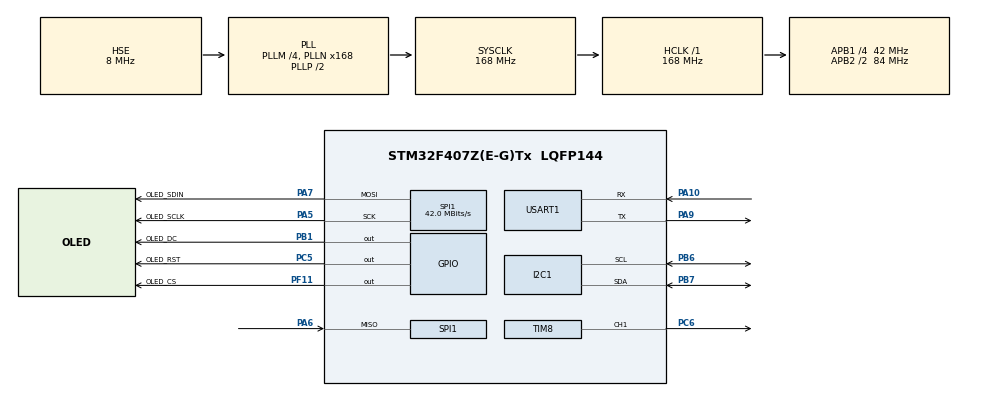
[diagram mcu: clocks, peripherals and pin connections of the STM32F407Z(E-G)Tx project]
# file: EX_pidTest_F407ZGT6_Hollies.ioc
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Mcu.Family=STM32F4
Mcu.Name=STM32F407Z(E-G)Tx
Mcu.Package=LQFP144
NVIC.PriorityGroup=NVIC_PRIORITYGROUP_4
NVIC.TIM1_UP_TIM10_IRQn=true\:0\:0\:false\:false\:true\:true\:true\:true
PA10.Mode=Asynchronous
PA10.Signal=USART1_RX
PA13.Mode=Serial_Wire
PA13.Signal=SYS_JTMS-SWDIO
PA14.Mode=Serial_Wire
PA14.Signal=SYS_JTCK-SWCLK
PA5.GPIO_Label=OLED_SCLK
PA5.Mode=Full_Duplex_Master
PA5.Signal=SPI1_SCK
PA6.Mode=Full_Duplex_Master
PA6.Signal=SPI1_MISO
PA7.GPIO_Label=OLED_SDIN
PA7.Mode=Full_Duplex_Master
PA7.Signal=SPI1_MOSI
PA9.Mode=Asynchronous
PA9.Signal=USART1_TX
PB1.GPIO_Label=OLED_DC
PB1.Signal=GPIO_Output
PB6.Mode=I2C
PB6.Signal=I2C1_SCL
PB7.Mode=I2C
PB7.Signal=I2C1_SDA
PC14-OSC32_IN.Mode=LSE-External-Oscillator
PC14-OSC32_IN.Signal=RCC_OSC32_IN
PC15-OSC32_OUT.Mode=LSE-External-Oscillator
PC15-OSC32_OUT.Signal=RCC_OSC32_OUT
PC5.GPIO_Label=OLED_RST
PC5.Signal=GPIO_Output
PC6.Signal=S_TIM8_CH1
PF11.GPIO_Label=OLED_CS
PF11.Signal=GPIO_Output
PH0-OSC_IN.Mode=HSE-External-Oscillator
PH0-OSC_IN.Signal=RCC_OSC_IN
PH1-OSC_OUT.Mode=HSE-External-Oscillator
PH1-OSC_OUT.Signal=RCC_OSC_OUT
ProjectManager.HeapSize=0x200
ProjectManager.StackSize=0x400
ProjectManager.TargetToolchain=STM32CubeIDE
RCC.48MHZClocksFreq_Value=84000000
RCC.AHBFreq_Value=168000000
RCC.APB1CLKDivider=RCC_HCLK_DIV4
RCC.APB1Freq_Value=42000000
RCC.APB1TimFreq_Value=84000000
RCC.APB2CLKDivider=RCC_HCLK_DIV2
RCC.APB2Freq_Value=84000000
RCC.APB2TimFreq_Value=168000000
RCC.CortexFreq_Value=168000000
RCC.HCLKFreq_Value=168000000
RCC.HSE_VALUE=8000000
RCC.HSI_VALUE=16000000
RCC.PLLM=4
RCC.PLLN=168
RCC.PLLSourceVirtual=RCC_PLLSOURCE_HSE
RCC.SYSCLKFreq_VALUE=168000000
RCC.SYSCLKSource=RCC_SYSCLKSOURCE_PLLCLK
RCC.VCOOutputFreq_Value=336000000
SH.S_TIM8_CH1.0=TIM8_CH1,PWM Generation1 CH1
SPI1.CalculateBaudRate=42.0 MBits/s
SPI1.Direction=SPI_DIRECTION_2LINES
SPI1.Mode=SPI_MODE_MASTER
SPI1.VirtualType=VM_MASTER
TIM1.Period=16800-1
TIM1.Prescaler=100-1
TIM8.Channel-PWM\ Generation1\ CH1=TIM_CHANNEL_1
TIM8.Period=8400-1
TIM8.Pulse-PWM\ Generation1\ CH1=3200
USART1.VirtualMode=VM_ASYNC
VP_TIM1_VS_ClockSourceINT.Mode=Internal
VP_TIM8_VS_ClockSourceINT.Mode=Internal
board=custom

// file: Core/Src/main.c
/* USER CODE BEGIN Header */
/**
  ******************************************************************************
  * @file           : main.c
  * @brief          : Main program body
  ******************************************************************************
  * @attention
  *
  * Copyright (c) 2023 STMicroelectronics.
  * All rights reserved.
  *
  * This software is licensed under terms that can be found in the LICENSE file
  * in the root directory of this software component.
  * If no LICENSE file comes with this software, it is provided AS-IS.
  *
  ******************************************************************************
  */
/* USER CODE END Header */
#include "main.h"
#include "i2c.h"
#include "spi.h"
#include "tim.h"
#include "usart.h"
#include "gpio.h"

/* USER CODE BEGIN Includes */
#include "ina238.h"
#include "oled_spi.h"
#include "pidPlus.h"
#include "stdio.h"
/* USER CODE END Includes */

void SystemClock_Config(void);

/* USER CODE BEGIN 0 */
PID pid1;
uint8_t str_buffer[128]={0};
/* USER CODE END 0 */

int main(void)
{

  /* MCU Configuration--------------------------------------------------------*/

  /* Reset of all peripherals, Initializes the Flash interface and the Systick. */
  HAL_Init();

  /* Configure the system clock */
  SystemClock_Config();

  /* Initialize all configured peripherals */
  MX_GPIO_Init();
  MX_I2C1_Init();
  MX_SPI1_Init();
  MX_TIM1_Init();
  MX_USART1_UART_Init();
  MX_TIM8_Init();
  /* USER CODE BEGIN 2 */
  PID_init(&pid1, &htim8, 400.0, 50, 0, 10.0);
  INA238_init(&hi2c1, 0);
  OLED_Init();
  OLED_Display_On();
  OLED_Clear();
  HAL_TIM_PWM_Start(&htim8, TIM_CHANNEL_1);
  HAL_TIM_Base_Start_IT(&htim1);
  /* USER CODE END 2 */

  /* Infinite loop */
  while (1)
  {

    /* USER CODE BEGIN 3 */
	  OLED_ShowNum(0, 0, 0, 1, 16);
    HAL_Delay(10);
  }
  /* USER CODE END 3 */
}

void SystemClock_Config(void)
{
  RCC_OscInitTypeDef RCC_OscInitStruct = {0};
  RCC_ClkInitTypeDef RCC_ClkInitStruct = {0};

  /** Configure the main internal regulator output voltage
  */
  __HAL_RCC_PWR_CLK_ENABLE();
  __HAL_PWR_VOLTAGESCALING_CONFIG(PWR_REGULATOR_VOLTAGE_SCALE1);

  /** Initializes the RCC Oscillators according to the specified parameters
  * in the RCC_OscInitTypeDef structure.
  */
  RCC_OscInitStruct.OscillatorType = RCC_OSCILLATORTYPE_HSE;
  RCC_OscInitStruct.HSEState = RCC_HSE_ON;
  RCC_OscInitStruct.PLL.PLLState = RCC_PLL_ON;
  RCC_OscInitStruct.PLL.PLLSource = RCC_PLLSOURCE_HSE;
  RCC_OscInitStruct.PLL.PLLM = 4;
  RCC_OscInitStruct.PLL.PLLN = 168;
  RCC_OscInitStruct.PLL.PLLP = RCC_PLLP_DIV2;
  RCC_OscInitStruct.PLL.PLLQ = 4;
  if (HAL_RCC_OscConfig(&RCC_OscInitStruct) != HAL_OK)
  {
    Error_Handler();
  }

  /** Initializes the CPU, AHB and APB buses clocks
  */
  RCC_ClkInitStruct.ClockType = RCC_CLOCKTYPE_HCLK|RCC_CLOCKTYPE_SYSCLK
                              |RCC_CLOCKTYPE_PCLK1|RCC_CLOCKTYPE_PCLK2;
  RCC_ClkInitStruct.SYSCLKSource = RCC_SYSCLKSOURCE_PLLCLK;
  RCC_ClkInitStruct.AHBCLKDivider = RCC_SYSCLK_DIV1;
  RCC_ClkInitStruct.APB1CLKDivider = RCC_HCLK_DIV4;
  RCC_ClkInitStruct.APB2CLKDivider = RCC_HCLK_DIV2;

  if (HAL_RCC_ClockConfig(&RCC_ClkInitStruct, FLASH_LATENCY_5) != HAL_OK)
  {
    Error_Handler();
  }
}

/* USER CODE BEGIN 4 */
void HAL_TIM_PeriodElapsedCallback(TIM_HandleTypeDef *htim)
{
  if(htim->Instance == TIM1)
  {
    double i = INA238_getVolt(&hi2c1);
    float k = PID_regulator(&pid1, i);
    TIM8->CCR1 = k;
    sprintf((char* )str_buffer, "succeess!%f, %f, %f\n", i, k, pid1.kp); //
    HAL_UART_Transmit(&huart1, str_buffer, sizeof(str_buffer), 100);
  }
}
/* USER CODE END 4 */

void Error_Handler(void)
{
  __disable_irq();
  while (1)
  {
  }
}
